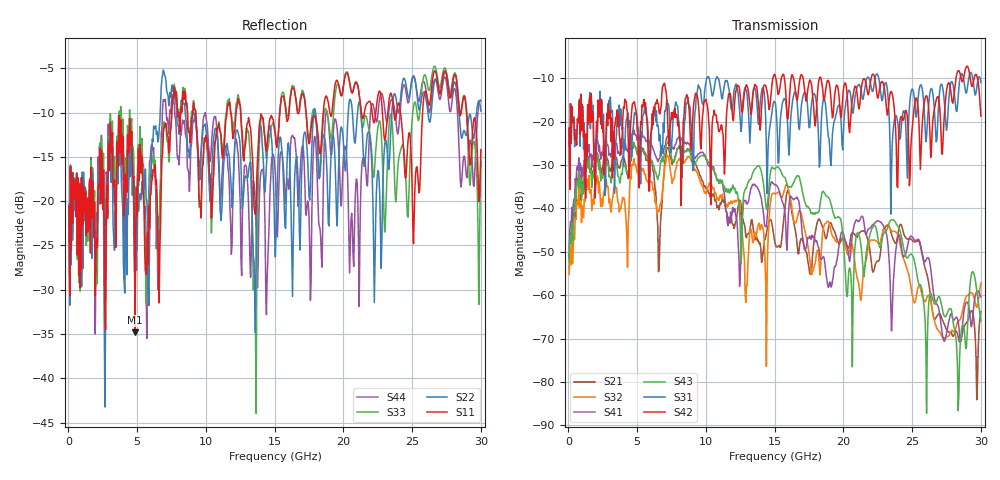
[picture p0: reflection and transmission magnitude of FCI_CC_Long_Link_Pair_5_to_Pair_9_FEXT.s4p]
! FCI USA LLC
! FCI_CC_Long_Link_Pair_5_to_Pair_9_FEXT.s4p
! PART DESCRIPTION: FCI Connector Concept 0.70 m Simulated Channel Model
! FREQUENCY RANGE: 50 MHz to 30 GHz in 50 MHz frequency steps
! PORT DEFINITIONS:
! Port  1  ----->  TX  Pin B4(Side A) -- Pin A5(Side B)  RX  <-----  Port  2
! Port  3  ----->  TX  Pin C4(Side A) -- Pin B5(Side B)  RX  <-----  Port  4
! Information
! FCI endeavors to use its reasonable efforts to place accurate and
! up-to-date information in this Touchstone file.  However, this file is
! provided on an as is basis.  FCI GIVES NO WARRANTY, EXPRESS OR
! IMPLIED, WITH RESPECT TO ANY INFORMATION PROVIDED IN THIS FILE,
! INCLUDING BUT NOT LIMITED TO THE IMPLIED WARRANTIES OF
! MERCHANTABILITY, FITNESS FOR A PARTICULAR PURPOSE OR NON-INFRINGEMENT.
! FCI SHALL NOT BE LIABLE FOR ANY DIRECT, SPECIAL, INDIRECT,
! CONSEQUENTIAL, PUNITIVE OR OTHER DAMAGES BASED ON USE OF THIS FILE.
#	Hz	S	RI	R	50
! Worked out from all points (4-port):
!   600 points, 50 MHz to 30 GHz, reference 50 ohm
!   strongest paths, dB at 50 MHz, 7.55 GHz, 15.05 GHz, 22.55 GHz, 30 GHz:
!     S42: -21.4, -19.4, -9.5, -14.1, -18.7
!     S31: -21.6, -22.9, -15.7, -9.7, -11.0
!     S43: -52.4, -29.0, -30.9, -47.7, -66.0
!     S41: -49.2, -26.1, -34.6, -42.9, -60.4
!     S32: -55.2, -34.3, -36.7, -48.1, -57.2
!     S21: -51.7, -29.8, -48.2, -52.2, -63.8
!   lowest |S11| = -34.8 dB at 4.85 GHz (marker M1), VSWR 1.04, Z = 49.5 - j1.74 ohm
!   |S11| at or under -10 dB: start of sweep to 7.519 GHz; 9.259 GHz to 11.53 GHz (2.267 GHz wide, 21.8 % of centre); 12.53 GHz to 15.37 GHz (2.835 GHz wide, 20.3 % of centre)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
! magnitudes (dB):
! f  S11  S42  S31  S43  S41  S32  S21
! 50 MHz  -20.6  -21.4  -21.6  -52.4  -49.2  -55.2  -51.7
! 4.85 GHz  -34.8  -16.5  -18.4  -25.9  -23.0  -29.8  -25.9
! 6.6 GHz  -31.5  -18.0  -24.4  -32.2  -28.6  -40.7  -54.0
! 8.7 GHz  -12.0  -15.0  -14.4  -26.6  -24.9  -28.0  -26.3
! 12.9 GHz  -13.3  -11.8  -12.6  -35.3  -38.2  -61.6  -46.5
! 15.85 GHz  -10.5  -15.9  -16.4  -33.9  -47.9  -34.5  -37.0
! 30 GHz  -14.2  -18.7  -11.0  -66.0  -60.4  -57.2  -63.8
